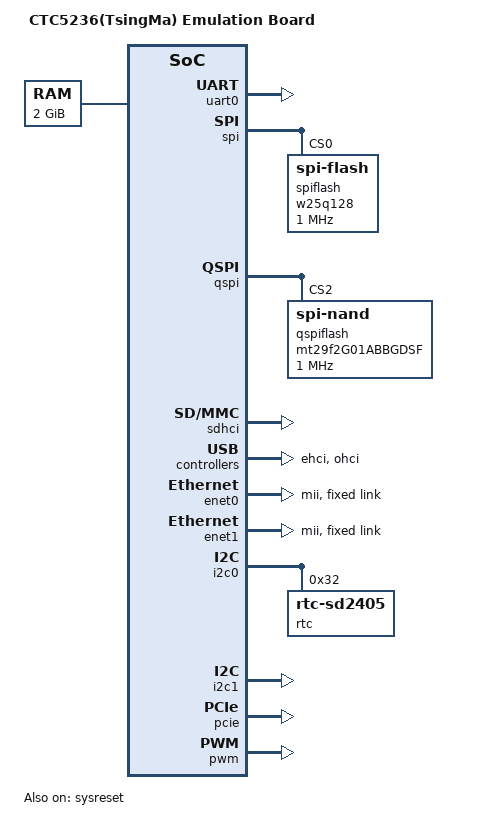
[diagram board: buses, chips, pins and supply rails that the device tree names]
/*
 * dts file for Centec CTC5236(TsingMa) SoC Emulation Board
 *
 * (C) Copyright 2004-2017 Centec Networks (suzhou) Co., LTD.
 *
 * Jay Cao <caoj@centecnetworks.com>
 *
 * This program is free software; you can redistribute it and/or
 * modify it under the terms of the GNU General Public License as
 * published by the Free Software Foundation; either version 2 of
 * the License, or (at your option) any later version.
 */

/dts-v1/;
#include "ctc5236-emu.dtsi"

/ {
	model = " CTC5236(TsingMa) Emulation Board";
	compatible = "ctc5236,ctc5236-emu";

	memory {
		device_type = "memory";
		reg = <0 0x80000000 0 0x80000000>;
	};

	chosen {
		stdout-path = "serial0:115200n8";
	};

	aliases {
		serial0 = &uart0;
		spi0 = &spi;
		spi1 = &qspi;
		mmc0 = &sdhci;
		usb0 = &ehci;
		usb1 = &ohci;
		ethernet0 = &enet0;
		ethernet1 = &enet1;
		i2c0 = &i2c0;
		i2c1 = &i2c1;
		pcie0 = &pcie;
	};
};

&uart0 {
	status = "okay";
	
};

&spi {
        status = "okay";
		
		spiflash: w25q128@0 {
			compatible = "spi-flash";
			reg = <0>;		
			pl022,interface = <0x0>; 		
			spi-max-frequency = <1000000>;
	};

};

&qspi {
	status = "okay";	
	qspiflash: mt29f2G01ABBGDSF@1 {
		compatible = "spi-nand";
		reg = <0x2>;
		spi-cpha; 
		spi-cpol;
		spi-max-frequency = <1000000>;
	};
};

&sdhci {
        status = "okay";
        max-frequency = <100000000>;
};

&ehci {
	status = "okay";
};

&ohci {
	status = "okay";
};

&enet0 {
        status = "okay";
        phy-connection-type = "mii";
        auto-nego-mode = "disable";
        fixed-link {
			speed = <10>;
			full-duplex;
	};
};

&enet1 {
        status = "okay";
        phy-connection-type = "mii";
        auto-nego-mode = "disable";
        fixed-link {
			speed = <10>;
			full-duplex;
	};
};

&i2c0 {
        status = "okay";
		rtc:rtc@32{
			compatible = "rtc-sd2405";
			reg = <0x32>;
		};
};

&i2c1 {
        status = "okay";
};

&pcie {
        status = "okay";
};

&gpio0 {
        status = "okay";
};
&pwm {
        status = "okay";
};

&sysreset {
	status = "okay";
};
